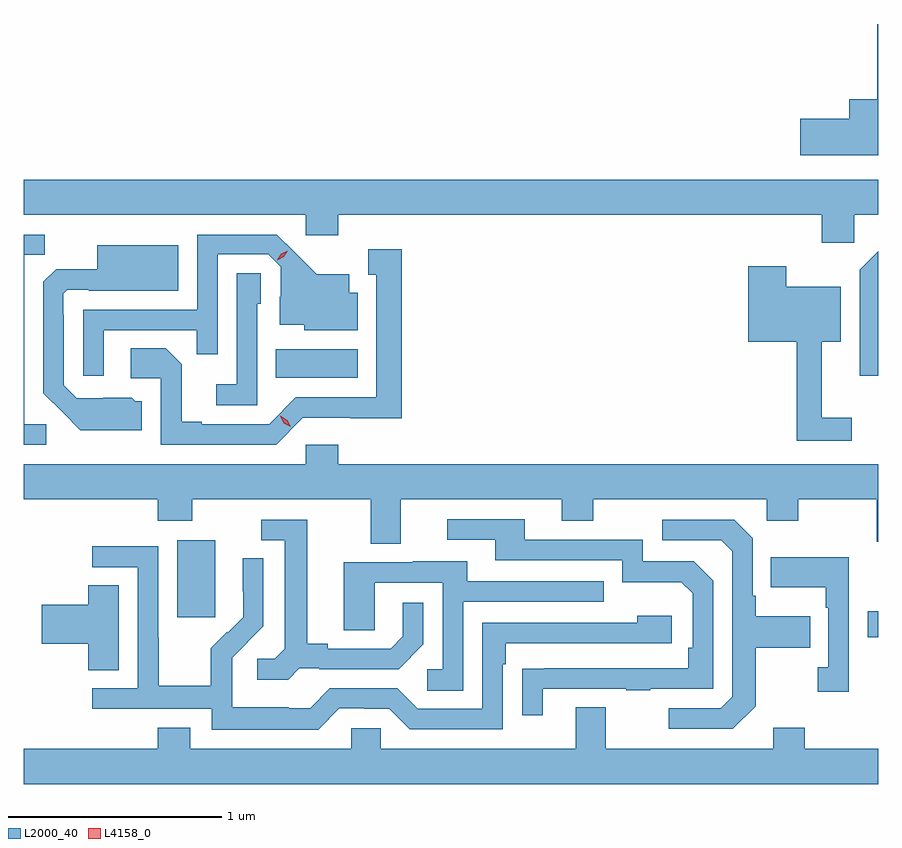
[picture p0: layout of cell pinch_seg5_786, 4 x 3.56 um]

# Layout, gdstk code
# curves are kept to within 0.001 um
import gdstk
lib = gdstk.Library(unit=1e-6, precision=1e-09)
def R(c, l, rs):  # rectangles x0, y0, x1, y1
    for r in rs: c.add(gdstk.rectangle(r[:2], r[2:], *l))
def P(c, l, *ps):  # polygons
    for p in ps: c.add(gdstk.Polygon(p, *l))
L2000_40 = (2000, 40)
L4158_0 = (4158, 0)

pinch_seg5_786 = lib.new_cell('pinch_seg5_786')
R(pinch_seg5_786, L2000_40, [(769.509,904.067,769.559,904.189), (766.277,904.161,766.456,904.522), (766.738,905.282,767.122,905.416)])
P(pinch_seg5_786, L2000_40, [(769.559,906.938),(769.554,906.938),(769.554,906.586),(769.424,906.586),(769.424,906.494),(769.194,906.494),(769.194,906.323),(769.559,906.323)],
  [(769.446,906.044),(769.559,906.044),(769.559,906.208),(765.559,906.208),(765.559,906.044),(766.878,906.044),(766.878,905.949),(767.03,905.949),(767.03,906.044),(769.295,906.044),(769.295,905.913),(769.446,905.913)],
  [(765.664,905.064),(765.561,905.064),(765.561,905.857),(765.657,905.857),(765.657,905.952),(765.559,905.952),(765.559,904.968),(765.664,904.968)],
  [(765.933,905.505),(766.369,905.505),(766.369,905.392),(766.467,905.392),(766.467,905.859),(766.704,905.859),(766.761,905.802),(766.761,905.66),(766.757,905.66),(766.757,905.531),(766.872,905.531),(766.872,905.504),(767.122,905.504),(767.122,905.68),(767.083,905.68),(767.083,905.767),(766.931,905.767),(766.744,905.952),(766.371,905.952),(766.371,905.601),(765.837,905.601),(765.837,905.292),(765.933,905.292)],
  [(766.111,905.172),(766.08,905.172),(766.064,905.188),(765.807,905.187),(765.747,905.247),(765.747,905.576),(765.744,905.576),(765.744,905.676),(765.762,905.694),(765.862,905.694),(765.862,905.69),(766.282,905.69),(766.282,905.902),(765.902,905.902),(765.902,905.791),(765.71,905.791),(765.651,905.732),(765.651,905.21),(765.823,905.036),(766.111,905.036)],
  [(766.866,905.094),(767.329,905.093),(767.329,905.884),(767.171,905.884),(767.171,905.763),(767.21,905.763),(767.21,905.19),(766.833,905.19),(766.707,905.064),(766.393,905.064),(766.393,905.077),(766.299,905.077),(766.299,905.344),(766.223,905.42),(766.059,905.42),(766.059,905.28),(766.2,905.28),(766.2,904.968),(766.74,904.968)],
  [(769.559,905.873),(769.473,905.787),(769.473,905.292),(769.559,905.292)],
  [(769.435,905.095),(769.295,905.095),(769.295,905.45),(769.384,905.45),(769.384,905.707),(769.128,905.707),(769.128,905.803),(768.95,905.803),(768.95,905.45),(769.177,905.45),(769.177,904.986),(769.435,904.986)],
  [(766.653,905.628),(766.668,905.628),(766.668,905.771),(766.557,905.771),(766.557,905.251),(766.461,905.251),(766.461,905.154),(766.653,905.154)],
  [(767.323,904.712),(768.077,904.712),(768.077,904.613),(768.225,904.613),(768.225,904.712),(769.038,904.712),(769.038,904.613),(769.185,904.613),(769.185,904.712),(769.552,904.712),(769.552,904.513),(769.559,904.513),(769.559,904.876),(767.03,904.876),(767.03,904.969),(766.878,904.969),(766.878,904.876),(765.559,904.876),(765.559,904.712),(766.187,904.712),(766.187,904.613),(766.347,904.613),(766.347,904.712),(767.183,904.712),(767.183,904.504),(767.323,904.504)],
  [(767.989,903.825),(768.379,903.825),(768.379,903.82),(768.491,903.82),(768.491,903.825),(768.786,903.825),(768.786,904.332),(768.696,904.422),(768.456,904.422),(768.456,904.524),(767.905,904.524),(767.905,904.62),(767.541,904.62),(767.541,904.524),(767.765,904.524),(767.765,904.428),(768.36,904.428),(768.36,904.325),(768.637,904.325),(768.69,904.272),(768.69,904.018),(768.67,904.018),(768.67,903.921),(767.893,903.92),(767.893,903.702),(767.989,903.702)],
  [(768.985,903.745),(768.985,904.018),(769.241,904.018),(769.241,904.165),(768.985,904.165),(768.985,904.261),(768.972,904.261),(768.972,904.53),(768.885,904.617),(768.549,904.617),(768.549,904.521),(768.825,904.521),(768.876,904.47),(768.876,903.789),(768.822,903.735),(768.579,903.735),(768.579,903.639),(768.879,903.639)],
  [(766.848,903.921),(766.942,903.921),(766.942,903.918),(767.314,903.918),(767.43,904.034),(767.43,904.228),(767.333,904.228),(767.333,904.071),(767.276,904.014),(766.981,904.014),(766.981,904.037),(766.885,904.037),(766.885,904.617),(766.671,904.617),(766.671,904.521),(766.781,904.521),(766.781,904.013),(766.734,903.966),(766.653,903.966),(766.653,903.869),(766.796,903.869)],
  [(767.037,903.735),(767.153,903.735),(767.153,903.732),(767.271,903.732),(767.367,903.636),(767.802,903.636),(767.802,903.941),(767.815,903.941),(767.815,904.038),(768.592,904.038),(768.592,904.168),(768.431,904.168),(768.431,904.134),(767.706,904.134),(767.706,903.732),(767.403,903.732),(767.307,903.828),(766.992,903.828),(766.899,903.735),(766.799,903.735),(766.799,903.739),(766.536,903.739),(766.536,903.873),(766.534,903.873),(766.534,903.97),(766.68,904.118),(766.68,904.436),(766.584,904.436),(766.584,904.282),(766.586,904.282),(766.586,904.16),(766.515,904.089),(766.512,904.092),(766.435,904.015),(766.435,903.841),(766.191,903.841),(766.191,904.064),(766.188,904.064),(766.188,904.494),(765.879,904.494),(765.879,904.395),(766.092,904.395),(766.092,903.828),(765.879,903.828),(765.879,903.732),(766.44,903.732),(766.44,903.635),(766.937,903.635)],
  [(769.422,904.441),(769.057,904.441),(769.057,904.301),(769.314,904.301),(769.314,904.205),(769.326,904.205),(769.326,903.926),(769.275,903.926),(769.275,903.813),(769.422,903.813)],
  [(767.616,904.233),(768.275,904.233),(768.275,904.329),(767.635,904.329),(767.635,904.423),(767.381,904.423),(767.381,904.419),(767.057,904.419),(767.057,904.099),(767.202,904.099),(767.202,904.323),(767.52,904.323),(767.52,903.918),(767.448,903.918),(767.448,903.817),(767.616,903.817)],
  [(766.003,904.31),(765.86,904.31),(765.86,904.22),(765.642,904.22),(765.642,904.037),(765.86,904.037),(765.86,903.913),(766.003,903.913)],
  [(769.559,903.544),(769.215,903.544),(769.215,903.643),(769.067,903.643),(769.067,903.544),(768.283,903.544),(768.283,903.739),(768.143,903.739),(768.143,903.544),(767.229,903.544),(767.229,903.642),(767.091,903.642),(767.091,903.544),(766.339,903.544),(766.339,903.643),(766.187,903.643),(766.187,903.544),(765.559,903.544),(765.559,903.38),(769.559,903.38)])
P(pinch_seg5_786, L4158_0, [(766.808,905.052),(766.777,905.07),(766.76,905.102),(766.76,905.103),(766.76,905.103),(766.792,905.084),(766.808,905.052),(766.808,905.052)],
  [(766.746,905.833),(766.746,905.834),(766.764,905.863),(766.795,905.877),(766.795,905.877),(766.795,905.877),(766.777,905.848),(766.746,905.833)])

lib.write_gds('pinch_seg5_786.gds')
